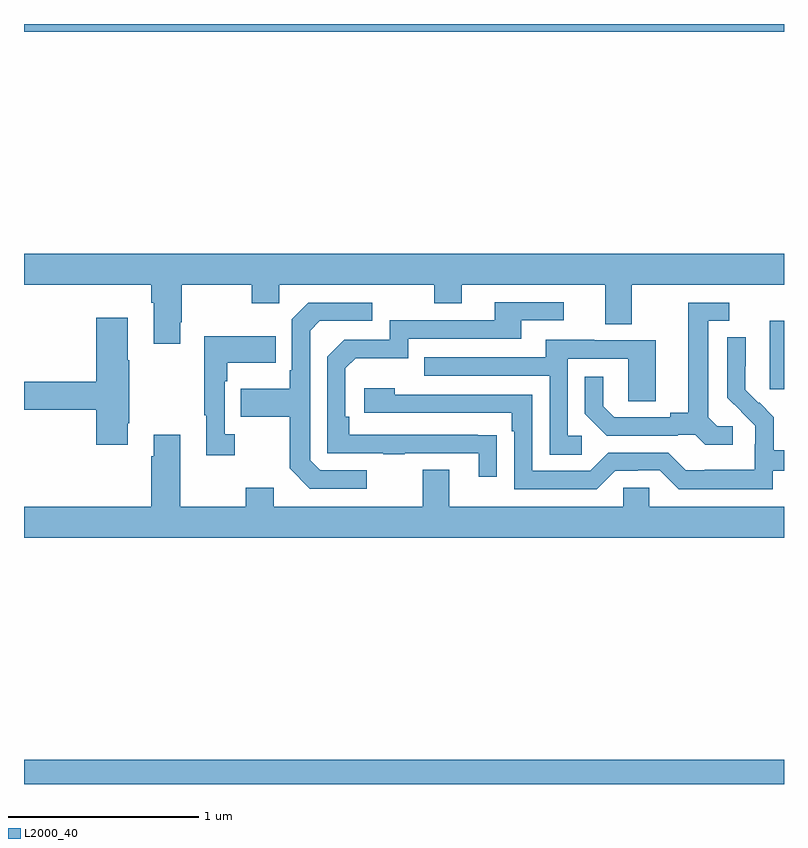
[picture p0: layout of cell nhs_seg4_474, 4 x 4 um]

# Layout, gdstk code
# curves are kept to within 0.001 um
import gdstk
lib = gdstk.Library(unit=1e-6, precision=1e-09)
def R(c, l, rs):  # rectangles x0, y0, x1, y1
    for r in rs: c.add(gdstk.rectangle(r[:2], r[2:], *l))
def P(c, l, *ps):  # polygons
    for p in ps: c.add(gdstk.Polygon(p, *l))
L2000_40 = (2000, 40)

nhs_seg4_474 = lib.new_cell('nhs_seg4_474')
R(nhs_seg4_474, L2000_40, [(135,752.9,139,753.028), (138.926,754.977,139,755.338), (135,756.86,139,756.9)])
P(nhs_seg4_474, L2000_40, [(135.823,755.329),(135.831,755.329),(135.831,755.528),(136.198,755.528),(136.198,755.429),(136.344,755.429),(136.344,755.528),(137.158,755.528),(137.158,755.429),(137.305,755.429),(137.305,755.528),(138.059,755.528),(138.059,755.32),(138.199,755.32),(138.199,755.528),(139,755.528),(139,755.692),(135,755.692),(135,755.528),(135.671,755.528),(135.671,755.432),(135.683,755.432),(135.683,755.217),(135.823,755.217)],
  [(137.489,754.736),(136.712,754.737),(136.712,754.834),(136.692,754.834),(136.692,755.088),(136.745,755.141),(137.022,755.141),(137.022,755.244),(137.617,755.244),(137.617,755.34),(137.842,755.34),(137.842,755.436),(137.477,755.436),(137.477,755.34),(136.926,755.34),(136.926,755.238),(136.686,755.238),(136.596,755.148),(136.596,754.641),(136.891,754.641),(136.891,754.636),(137.003,754.636),(137.003,754.641),(137.393,754.641),(137.393,754.518),(137.489,754.518)],
  [(136.804,754.551),(136.56,754.551),(136.506,754.605),(136.506,755.286),(136.557,755.337),(136.834,755.337),(136.834,755.433),(136.497,755.433),(136.41,755.346),(136.41,755.077),(136.398,755.077),(136.398,754.981),(136.141,754.981),(136.141,754.834),(136.398,754.834),(136.398,754.561),(136.503,754.455),(136.804,754.455)],
  [(138.73,754.782),(138.648,754.782),(138.601,754.829),(138.601,755.337),(138.712,755.337),(138.712,755.433),(138.497,755.433),(138.497,754.853),(138.401,754.853),(138.401,754.83),(138.106,754.83),(138.049,754.887),(138.049,755.044),(137.952,755.044),(137.952,754.85),(138.068,754.734),(138.44,754.734),(138.44,754.737),(138.534,754.737),(138.586,754.685),(138.73,754.685)],
  [(135.547,754.798),(135.555,754.798),(135.555,755.129),(135.547,755.129),(135.547,755.353),(135.38,755.353),(135.38,755.018),(135,755.018),(135,754.871),(135.38,754.871),(135.38,754.686),(135.547,754.686)],
  [(136.108,754.742),(136.056,754.742),(136.056,755.021),(136.069,755.021),(136.069,755.117),(136.325,755.117),(136.325,755.257),(135.948,755.257),(135.948,754.841),(135.959,754.841),(135.959,754.629),(136.108,754.629)],
  [(138.942,754.548),(139,754.548),(139,754.657),(138.947,754.657),(138.947,754.831),(138.87,754.908),(138.867,754.905),(138.797,754.976),(138.798,755.252),(138.702,755.252),(138.702,754.934),(138.848,754.786),(138.848,754.689),(138.846,754.689),(138.846,754.555),(138.583,754.555),(138.583,754.551),(138.483,754.551),(138.39,754.644),(138.075,754.644),(137.979,754.548),(137.676,754.548),(137.676,754.95),(136.952,754.95),(136.952,754.984),(136.791,754.984),(136.791,754.854),(137.567,754.854),(137.567,754.757),(137.58,754.757),(137.58,754.452),(138.015,754.452),(138.111,754.548),(138.23,754.548),(138.23,754.551),(138.345,754.551),(138.445,754.451),(138.942,754.451)],
  [(137.935,754.734),(137.862,754.734),(137.862,755.139),(138.18,755.139),(138.18,754.915),(138.325,754.915),(138.325,755.235),(138.001,755.235),(138.001,755.239),(137.747,755.239),(137.747,755.145),(137.107,755.145),(137.107,755.049),(137.766,755.049),(137.766,754.633),(137.935,754.633)],
  [(139,754.36),(138.291,754.36),(138.291,754.458),(138.153,754.458),(138.153,754.36),(137.239,754.36),(137.239,754.555),(137.099,754.555),(137.099,754.36),(136.315,754.36),(136.315,754.459),(136.168,754.459),(136.168,754.36),(135.823,754.36),(135.823,754.738),(135.683,754.738),(135.683,754.625),(135.671,754.625),(135.671,754.36),(135,754.36),(135,754.196),(139,754.196)])

lib.write_gds('nhs_seg4_474.gds')
